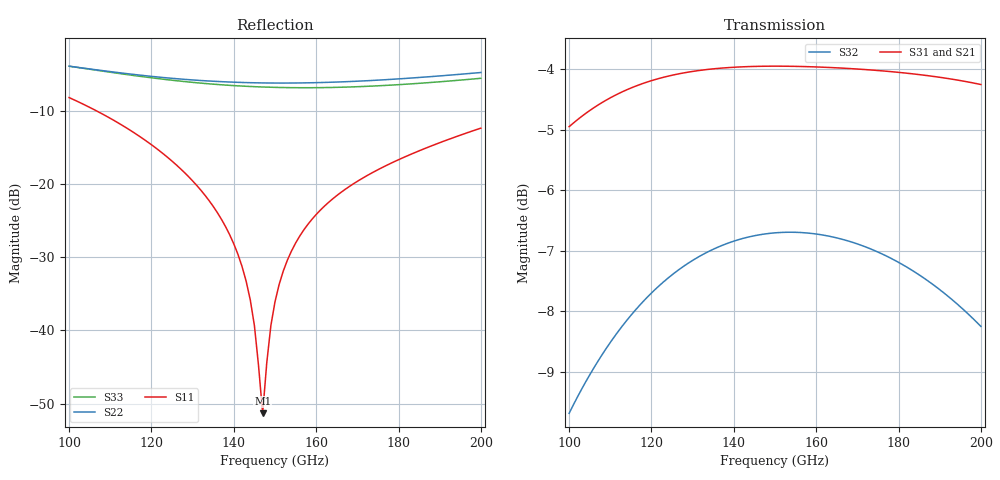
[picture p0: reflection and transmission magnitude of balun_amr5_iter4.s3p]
! Created with skrf 2.2.0 (http://scikit-rf.org).
# GHz S DB R 50.0
! Port[1] = P1
! Port[2] = P2
! Port[3] = P3
!freq dBS11 angS11 dBS12 angS12 dBS13 angS13
! dBS21 angS21 dBS22 angS22 dBS23 angS23
! dBS31 angS31 dBS32 angS32 dBS33 angS33
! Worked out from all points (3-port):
!   101 points, 100 GHz to 200 GHz, reference 50 ohm
!   strongest paths, dB at 100 GHz, 125 GHz, 150 GHz, 175 GHz, 200 GHz:
!     S31: -5.0, -4.1, -4.0, -4.0, -4.3
!     S21: -4.7, -4.0, -4.0, -4.2, -4.6
!     S32: -9.7, -7.4, -6.7, -7.0, -8.3
!   lowest |S11| = -51.3 dB at 147 GHz (marker M1), VSWR 1.01, Z = 50.3 - j0.0696 ohm
!   |S11| at or under -10 dB: 106.5 GHz to end of sweep
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100  -8.22 129.5  -4.71 -10.5  -4.95 165.9
     -4.71 -10.5  -3.93 60.1  -9.69 90.9
     -4.95 165.9  -9.69 90.9  -3.94 50.4
122  -15.51 100.0  -4.03 -43.7  -4.15 130.8
     -4.03 -43.7  -5.43 40.8  -7.57 58.3
     -4.15 130.8  -7.57 58.3  -5.66 28.2
136  -23.92 84.9  -3.93 -62.7  -3.99 110.8
     -3.93 -62.7  -6.02 30.5  -6.95 39.4
     -3.99 110.8  -6.95 39.4  -6.43 16.7
143  -33.29 74.8  -3.93 -71.7  -3.96 101.2
     -3.93 -71.7  -6.17 25.5  -6.78 30.4
     -3.96 101.2  -6.78 30.4  -6.68 11.3
145  -39.34 66.0  -3.94 -74.2  -3.96 98.6
     -3.94 -74.2  -6.20 24.1  -6.75 27.9
     -3.96 98.6  -6.75 27.9  -6.73 9.8
147  -51.31 -14.8  -3.95 -76.7  -3.95 95.9
     -3.95 -76.7  -6.22 22.7  -6.73 25.4
     -3.95 95.9  -6.73 25.4  -6.77 8.3
150  -36.09 -92.7  -3.96 -80.4  -3.95 92.0
     -3.96 -80.4  -6.24 20.6  -6.71 21.6
     -3.95 92.0  -6.71 21.6  -6.83 6.0
155  -28.08 -101.7  -3.99 -86.5  -3.95 85.5
     -3.99 -86.5  -6.23 16.9  -6.70 15.5
     -3.95 85.5  -6.70 15.5  -6.87 2.3
164  -22.05 -108.3  -4.06 -97.4  -3.98 74.1
     -4.06 -97.4  -6.12 10.2  -6.77 4.7
     -3.98 74.1  -6.77 4.7  -6.84 -4.5
200  -12.39 -129.5  -4.62 -140.7  -4.25 28.6
     -4.62 -140.7  -4.80 -20.6  -8.25 -37.6
     -4.25 28.6  -8.25 -37.6  -5.59 -34.6
